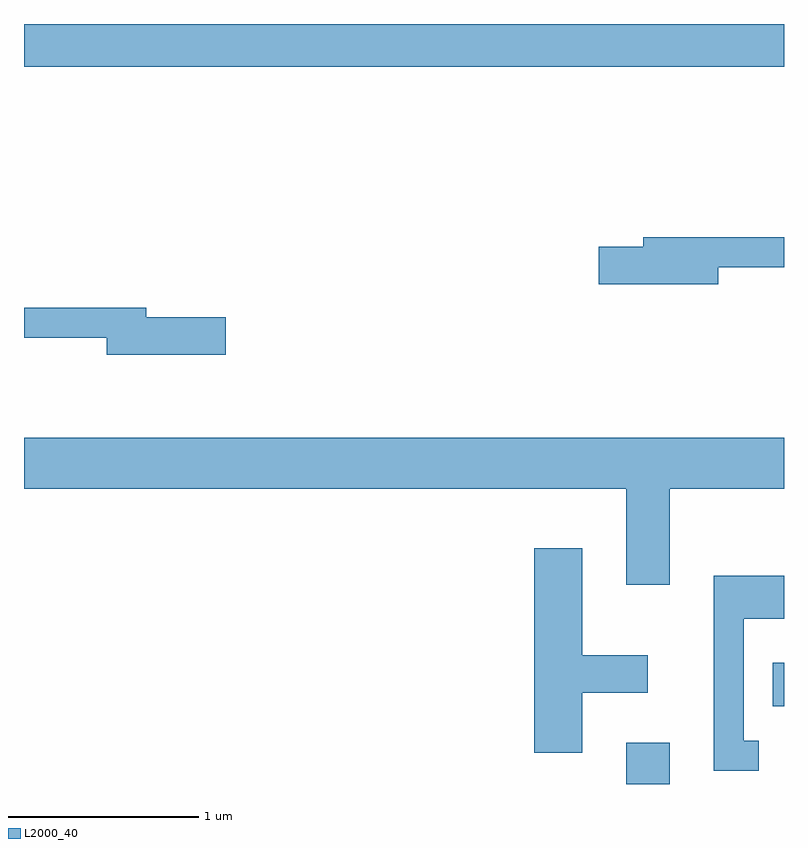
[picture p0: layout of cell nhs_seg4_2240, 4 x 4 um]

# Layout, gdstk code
import gdstk
lib = gdstk.Library(unit=1e-6, precision=1e-09)
def R(c, l, rs):  # rectangles x0, y0, x1, y1
    for r in rs: c.add(gdstk.rectangle(r[:2], r[2:], *l))
def P(c, l, *ps):  # polygons
    for p in ps: c.add(gdstk.Polygon(p, *l))
L2000_40 = (2000, 40)

nhs_seg4_2240 = lib.new_cell('nhs_seg4_2240')
R(nhs_seg4_2240, L2000_40, [(252.781,1381.982,253.009,1382.199), (253.551,1382.391,253.611,1382.619), (249.611,1385.756,253.611,1385.982)])
P(nhs_seg4_2240, L2000_40, [(253.264,1384.701),(253.611,1384.701),(253.611,1384.859),(252.871,1384.859),(252.871,1384.809),(252.636,1384.809),(252.636,1384.611),(253.264,1384.611)],
  [(250.674,1384.439),(250.254,1384.439),(250.254,1384.489),(249.611,1384.489),(249.611,1384.331),(250.046,1384.331),(250.046,1384.241),(250.674,1384.241)],
  [(253.009,1383.536),(253.611,1383.536),(253.611,1383.804),(249.611,1383.804),(249.611,1383.536),(252.781,1383.536),(252.781,1383.031),(253.009,1383.031)],
  [(252.549,1382.461),(252.894,1382.461),(252.894,1382.659),(252.549,1382.659),(252.549,1383.224),(252.296,1383.224),(252.296,1382.146),(252.549,1382.146)],
  [(253.478,1382.209),(253.399,1382.209),(253.399,1382.851),(253.611,1382.851),(253.611,1383.079),(253.241,1383.079),(253.241,1382.051),(253.478,1382.051)])

lib.write_gds('nhs_seg4_2240.gds')
